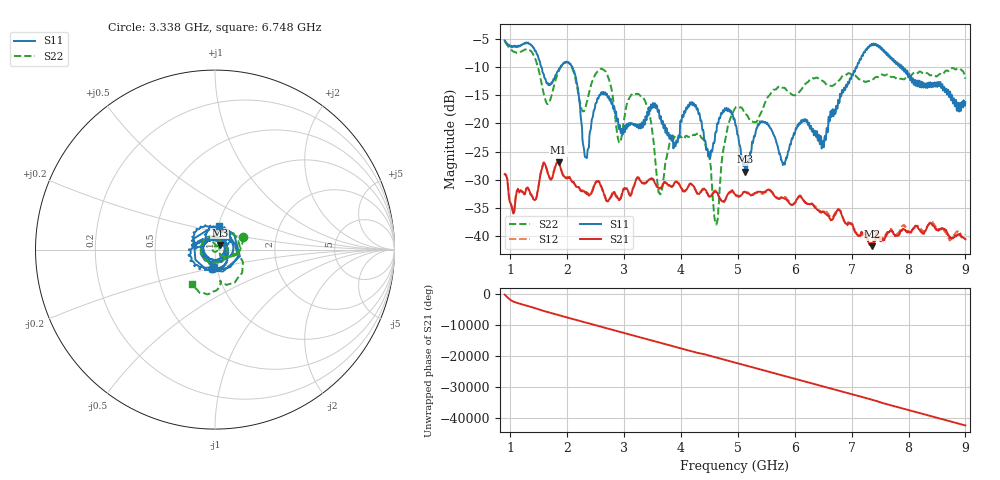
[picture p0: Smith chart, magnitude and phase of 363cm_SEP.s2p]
!Keysight Technologies N9915A: A.10.33
!Date: Friday, 08 May 2020 14:12:22
!Timezone: (UTC+08:00) Perth
!Model: N9915A
!Serial: MY53102697
!GPS Latitude:
!GPS Longitude:
!GPS TimeStamp: 0001-01-01 00:00:00Z
!GPS Seconds Since Last Read: 0
!CHECKSUM:0222736587
!Correction: S11(ON U?)S21(ON U?)S12(ON U?)S22(ON U?)
!S2P File: Measurements:S11,S21,S12,S22:
# Hz S DB R 50
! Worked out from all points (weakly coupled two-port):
!   1001 points, 900 MHz to 9 GHz, reference 50 ohm
!   highest |S21| = -26.87 dB at 1.848 GHz (marker M1); lowest = -41.7 dB at 7.364 GHz (marker M2)
!   lowest |S11| = -28.5 dB at 5.128 GHz (marker M3), VSWR 1.08, Z = 52.7 + j2.74 ohm
!   |S11| at or under -10 dB: 1.548 GHz to 1.882 GHz (334.3 MHz wide, 19.5 % of centre); 2.093 GHz to 7.079 GHz (4.986 GHz wide, 109 % of centre); 7.907 GHz to end of sweep (the widest 3 of 6)
!   |S22| runs from -37.9 to -5.5 dB; largest |S21 - S12| = 0.0037
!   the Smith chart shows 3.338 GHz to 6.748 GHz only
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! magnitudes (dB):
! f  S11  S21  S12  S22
! 900 MHz  -5.3  -29.0  -28.9  -5.5
! 1.046 GHz  -6.3  -35.7  -35.5  -7.2
! 1.653 GHz  -12.8  -28.6  -28.5  -16.6
! 1.848 GHz  -10.6  -26.9  -26.8  -10.8
! 2.099 GHz  -10.2  -30.4  -30.4  -10.6
! 2.253 GHz  -20.1  -32.0  -31.9  -17.4
! 2.342 GHz  -26.1  -32.2  -32.2  -16.4
! 2.642 GHz  -14.7  -32.3  -32.2  -10.5
! 2.925 GHz  -20.3  -33.5  -33.4  -23.4
! 3.322 GHz  -20.7  -30.6  -30.5  -15.4
! 3.605 GHz  -17.6  -31.4  -31.3  -32.2
! 3.905 GHz  -24.0  -30.4  -30.3  -22.1
! 4.31 GHz  -18.4  -32.5  -32.4  -21.7
! 4.618 GHz  -21.6  -32.1  -31.9  -37.9
! 4.95 GHz  -19.8  -32.5  -32.6  -17.3
! 5.128 GHz  -28.5  -32.2  -32.1  -18.3
! 5.42 GHz  -19.6  -32.2  -32.4  -17.8
! 5.801 GHz  -27.1  -33.2  -33.0  -13.7
! 6.303 GHz  -21.4  -34.2  -34.2  -11.9
! 7.364 GHz  -6.0  -41.7  -41.1  -12.3
! 7.655 GHz  -8.1  -39.3  -39.0  -11.4
! 9 GHz  -16.2  -40.5  -39.6  -12.1
